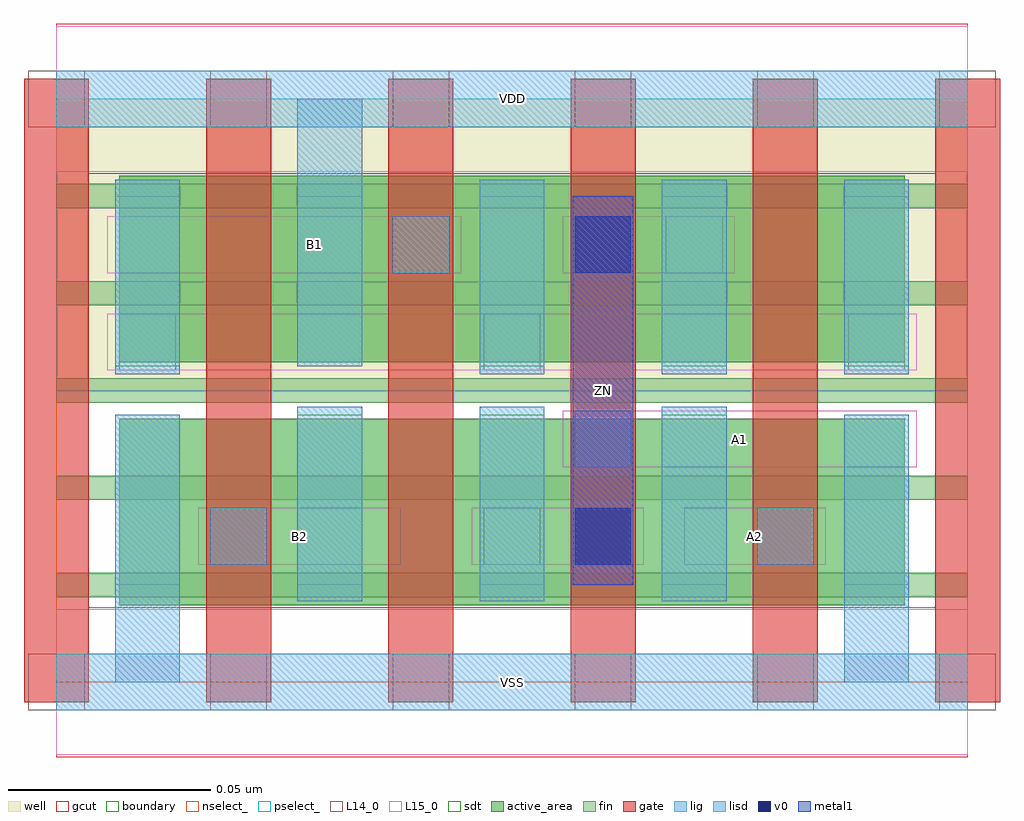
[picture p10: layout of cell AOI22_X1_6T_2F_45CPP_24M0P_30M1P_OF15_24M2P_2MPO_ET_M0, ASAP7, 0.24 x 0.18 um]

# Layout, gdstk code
import gdstk
lib = gdstk.Library(unit=1e-6, precision=2.5e-10)
def R(c, l, rs):  # rectangles x0, y0, x1, y1
    for r in rs: c.add(gdstk.rectangle(r[:2], r[2:], *l))
def A(c, l, x, y, w, h, nx, ny, dx, dy):  # array of equal rectangles
    R(c, l, [(x+i*dx, y+j*dy, x+i*dx+w, y+j*dy+h) for i in range(nx) for j in range(ny)])
well = (1, 0)
fin = (2, 0)
gate = (7, 0)
gcut = (10, 0)
active_area = (11, 0)
nselect_ = (12, 0)
pselect_ = (13, 0)
L14_0 = (14, 0)
L15_0 = (15, 0)
lig = (16, 0)
lisd = (17, 0)
v0 = (18, 0)
metal1 = (19, 0)
sdt = (88, 0)
boundary = (100, 0)

aoi22_x1_6t_2f_45cpp_24m = lib.new_cell('AOI22_X1_6T_2F_45CPP_24M0P_30M1P_OF15_24M2P_2MPO_ET_M0')
R(aoi22_x1_6t_2f_45cpp_24m, well, [(0,0.072,0.225,0.144)])
A(aoi22_x1_6t_2f_45cpp_24m, fin, 0, 0.021, 0.225, 0.006, 1, 5, 0, 0.024)
A(aoi22_x1_6t_2f_45cpp_24m, gate, -0.008, -0.005, 0.016, 0.154, 6, 1, 0.045, 0)
R(aoi22_x1_6t_2f_45cpp_24m, gcut, [(0,-0.0185,0.225,0.0185), (-0.008,-0.005,0.008,0.149), (0.217,-0.005,0.233,0.149), (0,0.1255,0.225,0.1625)])
A(aoi22_x1_6t_2f_45cpp_24m, active_area, 0.0155, 0.019, 0.059, 0.046, 4, 2, 0.045, 0.06)
R(aoi22_x1_6t_2f_45cpp_24m, nselect_, [(0,0,0.225,0.072)])
R(aoi22_x1_6t_2f_45cpp_24m, pselect_, [(0,0.072,0.225,0.144)])
A(aoi22_x1_6t_2f_45cpp_24m, L14_0, -0.007, -0.007, 0.014, 0.014, 6, 2, 0.045, 0.144)
A(aoi22_x1_6t_2f_45cpp_24m, L14_0, 0.038, 0.029, 0.014, 0.014, 3, 1, 0.0675, 0)
A(aoi22_x1_6t_2f_45cpp_24m, L14_0, 0.0155, 0.077, 0.014, 0.014, 3, 1, 0.09, 0)
R(aoi22_x1_6t_2f_45cpp_24m, L14_0, [(0.128,0.053,0.142,0.067), (0.083,0.101,0.097,0.115), (0.1505,0.101,0.1645,0.115)])
R(aoi22_x1_6t_2f_45cpp_24m, L15_0, [(0,-0.018,0.225,0.018), (0.035,0.029,0.085,0.043), (0.1025,0.029,0.145,0.043), (0.155,0.029,0.19,0.043), (0.125,0.053,0.2125,0.067), (0.0125,0.077,0.2125,0.091), (0.0125,0.101,0.1,0.115), (0.125,0.101,0.1675,0.115), (0,0.126,0.225,0.162)])
R(aoi22_x1_6t_2f_45cpp_24m, lig, [(0,-0.007,0.225,0.007), (0.038,0.029,0.052,0.043), (0.173,0.029,0.187,0.043), (0.128,0.053,0.142,0.067), (0.083,0.101,0.097,0.115), (0,0.137,0.225,0.151)])
A(aoi22_x1_6t_2f_45cpp_24m, lisd, 0.0595, 0.02, 0.016, 0.048, 3, 1, 0.045, 0)
A(aoi22_x1_6t_2f_45cpp_24m, lisd, 0.1045, 0.076, 0.016, 0.048, 3, 1, 0.045, 0)
R(aoi22_x1_6t_2f_45cpp_24m, lisd, [(0.0145,0,0.0305,0.066), (0.1945,0,0.2105,0.066), (0.0145,0.076,0.0305,0.124), (0.0595,0.078,0.0755,0.144)])
R(aoi22_x1_6t_2f_45cpp_24m, v0, [(0.128,0.029,0.142,0.043), (0.128,0.101,0.142,0.115)])
R(aoi22_x1_6t_2f_45cpp_24m, metal1, [(0.1275,0.024,0.1425,0.12)])
A(aoi22_x1_6t_2f_45cpp_24m, sdt, 0.0145, 0.024, 0.016, 0.042, 5, 2, 0.045, 0.054)
R(aoi22_x1_6t_2f_45cpp_24m, boundary, [(0,0,0.225,0.144)])
aoi22_x1_6t_2f_45cpp_24m.add(gdstk.Label('B1', (0.0638,0.108), layer=15, texttype=251))
aoi22_x1_6t_2f_45cpp_24m.add(gdstk.Label('B2', (0.06,0.036), layer=15, texttype=251))
aoi22_x1_6t_2f_45cpp_24m.add(gdstk.Label('A2', (0.1725,0.036), layer=15, texttype=251))
aoi22_x1_6t_2f_45cpp_24m.add(gdstk.Label('A1', (0.1688,0.06), layer=15, texttype=251))
aoi22_x1_6t_2f_45cpp_24m.add(gdstk.Label('VDD', (0.1125,0.144), layer=15, texttype=251))
aoi22_x1_6t_2f_45cpp_24m.add(gdstk.Label('VSS', (0.1125,0), layer=15, texttype=251))
aoi22_x1_6t_2f_45cpp_24m.add(gdstk.Label('VDD', (0.1125,0.144), layer=1, texttype=251))
aoi22_x1_6t_2f_45cpp_24m.add(gdstk.Label('VSS', (0.1125,0), layer=3, texttype=251))
aoi22_x1_6t_2f_45cpp_24m.add(gdstk.Label('ZN', (0.135,0.072), layer=19, texttype=251))

lib.write_gds('AOI22_X1_6T_2F_45CPP_24M0P_30M1P_OF15_24M2P_2MPO_ET_M0.gds')
